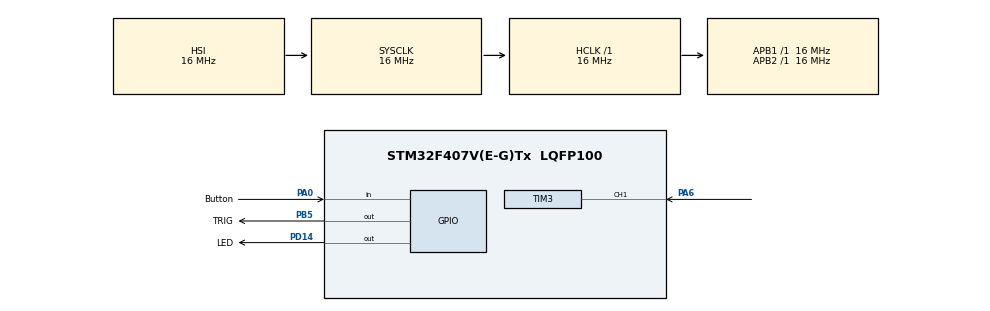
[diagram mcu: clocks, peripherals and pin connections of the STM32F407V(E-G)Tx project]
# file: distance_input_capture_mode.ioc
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Mcu.Family=STM32F4
Mcu.Name=STM32F407V(E-G)Tx
Mcu.Package=LQFP100
NVIC.PriorityGroup=NVIC_PRIORITYGROUP_4
NVIC.TIM3_IRQn=true\:0\:0\:false\:false\:true\:true\:true
PA0-WKUP.GPIO_Label=Button
PA0-WKUP.Signal=GPIO_Input
PA6.Signal=S_TIM3_CH1
PB5.GPIO_Label=TRIG
PB5.Signal=GPIO_Output
PD14.GPIO_Label=LED
PD14.Signal=GPIO_Output
ProjectManager.HeapSize=0x200
ProjectManager.StackSize=0x400
ProjectManager.TargetToolchain=STM32CubeIDE
RCC.AHBFreq_Value=16000000
RCC.APB1Freq_Value=16000000
RCC.APB2Freq_Value=16000000
RCC.CortexFreq_Value=16000000
RCC.HSE_VALUE=25000000
RCC.HSI_VALUE=16000000
RCC.LSE_VALUE=32768
RCC.SYSCLKFreq_VALUE=16000000
RCC.VCOOutputFreq_Value=192000000
SH.S_TIM3_CH1.0=TIM3_CH1,Input_Capture1_from_TI1
TIM2.Prescaler=15
TIM3.Channel-Input_Capture1_from_TI1=TIM_CHANNEL_1
TIM3.ICFilter_CH1=4
TIM3.ICPolarity_CH1=TIM_INPUTCHANNELPOLARITY_BOTHEDGE
TIM3.Period=0xffff-1
TIM3.Prescaler=15
VP_TIM2_VS_ClockSourceINT.Mode=Internal
VP_TIM3_VS_ClockSourceINT.Mode=Internal
board=custom

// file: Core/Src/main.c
/* USER CODE BEGIN Header */
/**
  ******************************************************************************
  * @file           : main.c
  * @brief          : Main program body
  ******************************************************************************
  * @attention
  *
  * <h2><center>&copy; Copyright (c) 2020 STMicroelectronics.
  * All rights reserved.</center></h2>
  *
  * This software component is licensed by ST under BSD 3-Clause license,
  * the "License"; You may not use this file except in compliance with the
  * License. You may obtain a copy of the License at:
  *                        opensource.org/licenses/BSD-3-Clause
  *
  ******************************************************************************
  */
/* USER CODE END Header */

#include "main.h"
#include "stdio.h"

/* USER CODE BEGIN PD */
#define usTIM TIM2
/* USER CODE END PD */

TIM_HandleTypeDef htim2;
TIM_HandleTypeDef htim3;

void SystemClock_Config(void);
static void MX_GPIO_Init(void);
static void MX_TIM2_Init(void);
static void MX_TIM3_Init(void);
/* USER CODE BEGIN PFP */
void usDelay(uint32_t uSec);

/* USER CODE END PFP */

/* USER CODE BEGIN 0 */
uint8_t icFlag = 0;
uint8_t captureIdx=0;
uint32_t edge1Time=0, edge2Time=0;

const float speedOfSound = 0.0343/2;
float distance;
/* USER CODE END 0 */

int main(void)
{

  /* MCU Configuration--------------------------------------------------------*/

  /* Reset of all peripherals, Initializes the Flash interface and the Systick. */
  HAL_Init();

  /* Configure the system clock */
  SystemClock_Config();

  /* Initialize all configured peripherals */
  MX_GPIO_Init();
  MX_TIM2_Init();
  MX_TIM3_Init();

  /* Infinite loop */
  /* USER CODE BEGIN WHILE */
  while (1)
  {
      // printf("Start..\n\r");
       //HAL_Delay(1000);
    /* USER CODE END WHILE */
		HAL_GPIO_WritePin(TRIG_GPIO_Port, TRIG_Pin, GPIO_PIN_RESET);
		usDelay(3);

		//*** START Ultrasonic measure routine ***//
		//1. Output 10 usec TRIG
		HAL_GPIO_WritePin(TRIG_GPIO_Port, TRIG_Pin, GPIO_PIN_SET);
		usDelay(10);
		HAL_GPIO_WritePin(TRIG_GPIO_Port, TRIG_Pin, GPIO_PIN_RESET);

		//2. ECHO signal pulse width

		//Start IC timer
		HAL_TIM_IC_Start_IT(&htim3, TIM_CHANNEL_1);
		//Wait for IC flag
		uint32_t startTick = HAL_GetTick();
		do
		{
			if(icFlag) break;
		}while((HAL_GetTick() - startTick) < 500);  //500ms
		icFlag = 0;
		HAL_TIM_IC_Stop_IT(&htim3, TIM_CHANNEL_1);

		//Calculate distance in cm
		if(edge2Time > edge1Time)
		{
			distance = ((edge2Time - edge1Time) + 0.0f)*speedOfSound;
		}
		else
		{
			distance = 0.0f;
		}

		printf("Distance (cm) = %.1f\n\r",distance);
		HAL_Delay(700);

  }
}

void SystemClock_Config(void)
{
  RCC_OscInitTypeDef RCC_OscInitStruct = {0};
  RCC_ClkInitTypeDef RCC_ClkInitStruct = {0};

  /** Configure the main internal regulator output voltage
  */
  __HAL_RCC_PWR_CLK_ENABLE();
  __HAL_PWR_VOLTAGESCALING_CONFIG(PWR_REGULATOR_VOLTAGE_SCALE1);
  /** Initializes the CPU, AHB and APB busses clocks
  */
  RCC_OscInitStruct.OscillatorType = RCC_OSCILLATORTYPE_HSI;
  RCC_OscInitStruct.HSIState = RCC_HSI_ON;
  RCC_OscInitStruct.HSICalibrationValue = RCC_HSICALIBRATION_DEFAULT;
  RCC_OscInitStruct.PLL.PLLState = RCC_PLL_NONE;
  if (HAL_RCC_OscConfig(&RCC_OscInitStruct) != HAL_OK)
  {
    Error_Handler();
  }
  /** Initializes the CPU, AHB and APB busses clocks
  */
  RCC_ClkInitStruct.ClockType = RCC_CLOCKTYPE_HCLK|RCC_CLOCKTYPE_SYSCLK
                              |RCC_CLOCKTYPE_PCLK1|RCC_CLOCKTYPE_PCLK2;
  RCC_ClkInitStruct.SYSCLKSource = RCC_SYSCLKSOURCE_HSI;
  RCC_ClkInitStruct.AHBCLKDivider = RCC_SYSCLK_DIV1;
  RCC_ClkInitStruct.APB1CLKDivider = RCC_HCLK_DIV1;
  RCC_ClkInitStruct.APB2CLKDivider = RCC_HCLK_DIV1;

  if (HAL_RCC_ClockConfig(&RCC_ClkInitStruct, FLASH_LATENCY_0) != HAL_OK)
  {
    Error_Handler();
  }
}

static void MX_TIM2_Init(void)
{

  TIM_ClockConfigTypeDef sClockSourceConfig = {0};
  TIM_MasterConfigTypeDef sMasterConfig = {0};

  htim2.Instance = TIM2;
  htim2.Init.Prescaler = 15;
  htim2.Init.CounterMode = TIM_COUNTERMODE_UP;
  htim2.Init.Period = 0;
  htim2.Init.ClockDivision = TIM_CLOCKDIVISION_DIV1;
  htim2.Init.AutoReloadPreload = TIM_AUTORELOAD_PRELOAD_DISABLE;
  if (HAL_TIM_Base_Init(&htim2) != HAL_OK)
  {
    Error_Handler();
  }
  sClockSourceConfig.ClockSource = TIM_CLOCKSOURCE_INTERNAL;
  if (HAL_TIM_ConfigClockSource(&htim2, &sClockSourceConfig) != HAL_OK)
  {
    Error_Handler();
  }
  sMasterConfig.MasterOutputTrigger = TIM_TRGO_RESET;
  sMasterConfig.MasterSlaveMode = TIM_MASTERSLAVEMODE_DISABLE;
  if (HAL_TIMEx_MasterConfigSynchronization(&htim2, &sMasterConfig) != HAL_OK)
  {
    Error_Handler();
  }

}

static void MX_TIM3_Init(void)
{

  TIM_ClockConfigTypeDef sClockSourceConfig = {0};
  TIM_MasterConfigTypeDef sMasterConfig = {0};
  TIM_IC_InitTypeDef sConfigIC = {0};

  htim3.Instance = TIM3;
  htim3.Init.Prescaler = 15;
  htim3.Init.CounterMode = TIM_COUNTERMODE_UP;
  htim3.Init.Period = 0xffff-1;
  htim3.Init.ClockDivision = TIM_CLOCKDIVISION_DIV1;
  htim3.Init.AutoReloadPreload = TIM_AUTORELOAD_PRELOAD_DISABLE;
  if (HAL_TIM_Base_Init(&htim3) != HAL_OK)
  {
    Error_Handler();
  }
  sClockSourceConfig.ClockSource = TIM_CLOCKSOURCE_INTERNAL;
  if (HAL_TIM_ConfigClockSource(&htim3, &sClockSourceConfig) != HAL_OK)
  {
    Error_Handler();
  }
  if (HAL_TIM_IC_Init(&htim3) != HAL_OK)
  {
    Error_Handler();
  }
  sMasterConfig.MasterOutputTrigger = TIM_TRGO_RESET;
  sMasterConfig.MasterSlaveMode = TIM_MASTERSLAVEMODE_DISABLE;
  if (HAL_TIMEx_MasterConfigSynchronization(&htim3, &sMasterConfig) != HAL_OK)
  {
    Error_Handler();
  }
  sConfigIC.ICPolarity = TIM_INPUTCHANNELPOLARITY_BOTHEDGE;
  sConfigIC.ICSelection = TIM_ICSELECTION_DIRECTTI;
  sConfigIC.ICPrescaler = TIM_ICPSC_DIV1;
  sConfigIC.ICFilter = 4;
  if (HAL_TIM_IC_ConfigChannel(&htim3, &sConfigIC, TIM_CHANNEL_1) != HAL_OK)
  {
    Error_Handler();
  }

}

static void MX_GPIO_Init(void)
{
  GPIO_InitTypeDef GPIO_InitStruct = {0};

  /* GPIO Ports Clock Enable */
  __HAL_RCC_GPIOA_CLK_ENABLE();
  __HAL_RCC_GPIOD_CLK_ENABLE();
  __HAL_RCC_GPIOB_CLK_ENABLE();

  /*Configure GPIO pin Output Level */
  HAL_GPIO_WritePin(LED_GPIO_Port, LED_Pin, GPIO_PIN_RESET);

  /*Configure GPIO pin Output Level */
  HAL_GPIO_WritePin(TRIG_GPIO_Port, TRIG_Pin, GPIO_PIN_RESET);

  /*Configure GPIO pin : Button_Pin */
  GPIO_InitStruct.Pin = Button_Pin;
  GPIO_InitStruct.Mode = GPIO_MODE_INPUT;
  GPIO_InitStruct.Pull = GPIO_NOPULL;
  HAL_GPIO_Init(Button_GPIO_Port, &GPIO_InitStruct);

  /*Configure GPIO pin : LED_Pin */
  GPIO_InitStruct.Pin = LED_Pin;
  GPIO_InitStruct.Mode = GPIO_MODE_OUTPUT_PP;
  GPIO_InitStruct.Pull = GPIO_NOPULL;
  GPIO_InitStruct.Speed = GPIO_SPEED_FREQ_LOW;
  HAL_GPIO_Init(LED_GPIO_Port, &GPIO_InitStruct);

  /*Configure GPIO pin : TRIG_Pin */
  GPIO_InitStruct.Pin = TRIG_Pin;
  GPIO_InitStruct.Mode = GPIO_MODE_OUTPUT_PP;
  GPIO_InitStruct.Pull = GPIO_NOPULL;
  GPIO_InitStruct.Speed = GPIO_SPEED_FREQ_LOW;
  HAL_GPIO_Init(TRIG_GPIO_Port, &GPIO_InitStruct);

}
void HAL_TIM_IC_CaptureCallback(TIM_HandleTypeDef *htim)
{

	HAL_GPIO_TogglePin(LED_GPIO_Port, LED_Pin);

		if(captureIdx == 0) //Fisrt edge
		{
			edge1Time = HAL_TIM_ReadCapturedValue(htim, TIM_CHANNEL_1); //__HAL_TIM_GetCounter(&htim3);//

			captureIdx = 1;
		}
		else if(captureIdx == 1) //Second edge
		{
			edge2Time = HAL_TIM_ReadCapturedValue(htim, TIM_CHANNEL_1);
			captureIdx = 0;
			icFlag = 1;
		}
}

/* USER CODE BEGIN 4 */
void usDelay(uint32_t uSec)
{
	if(uSec < 2) uSec = 2;
	usTIM->ARR = uSec - 1; 	/*sets the value in the auto-reload register*/
	usTIM->EGR = 1; 			/*Re-initialises the timer*/
	usTIM->SR &= ~1; 		//Resets the flag
	usTIM->CR1 |= 1; 		//Enables the counter
	while((usTIM->SR&0x0001) != 1);
	usTIM->SR &= ~(0x0001);
}
/* USER CODE END 4 */

void Error_Handler(void)
{
}

/************************ (C) COPYRIGHT STMicroelectronics *****END OF FILE****/
